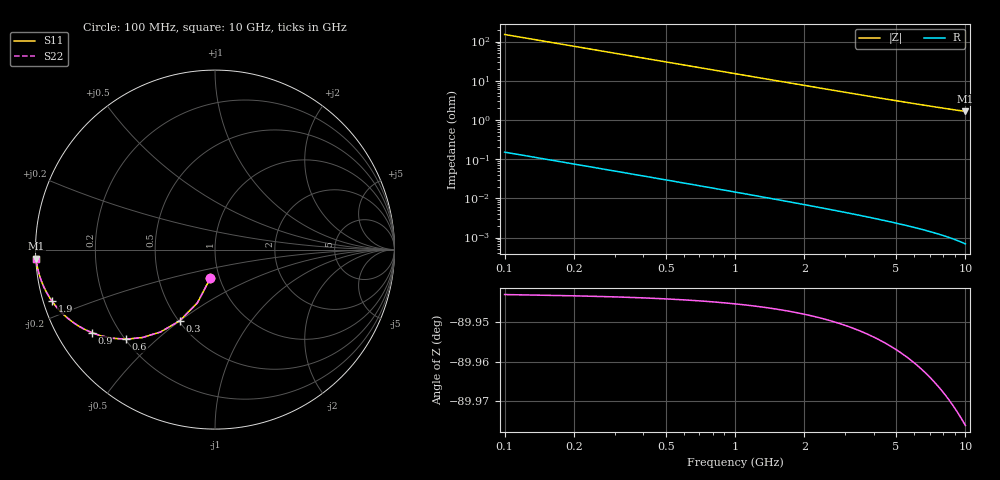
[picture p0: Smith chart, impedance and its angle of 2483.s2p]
# Hz S RI R 50.00
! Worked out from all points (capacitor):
!   100 points, 100 MHz to 10 GHz, reference 50 ohm
!   read as one part in shunt: C = 10.5 pF near 100 MHz
!   lowest |Z| = 1.65 ohm at 10 GHz (marker M1)
!   S11 on the Smith chart (normalised r, x): 100 MHz: 0.90, -0.30; 300 MHz: 0.51, -0.50; 600 MHz: 0.20, -0.40; 900 MHz: 0.10, -0.30; 1.9 GHz: 0.03, -0.15; 10 GHz: 0.00, -0.03
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1e8  -0.0266 -0.1604  0.9734 -0.1605  0.9734 -0.1605  -0.0266 -0.1604
2e8  -0.0982 -0.297  0.9017 -0.2973  0.9017 -0.2973  -0.0982 -0.297
3e8  -0.1967 -0.3968  0.8032 -0.3972  0.8032 -0.3972  -0.1967 -0.3968
4e8  -0.3031 -0.4588  0.6968 -0.4594  0.6968 -0.4594  -0.3031 -0.4588
5e8  -0.4045 -0.49  0.5954 -0.4906  0.5954 -0.4906  -0.4045 -0.49
6e8  -0.4944 -0.4991  0.5055 -0.4999  0.5055 -0.4999  -0.4944 -0.4991
7e8  -0.5709 -0.494  0.429 -0.4949  0.429 -0.4949  -0.5709 -0.494
8e8  -0.6347 -0.4805  0.3652 -0.4815  0.3652 -0.4815  -0.6347 -0.4805
9e8  -0.6873 -0.4624  0.3126 -0.4637  0.3126 -0.4637  -0.6873 -0.4624
1.1e9  -0.7665 -0.4218  0.2334 -0.4233  0.2334 -0.4233  -0.7665 -0.4218
1.3e9  -0.8209 -0.382  0.179 -0.3838  0.179 -0.3838  -0.8209 -0.382
1.5e9  -0.8591 -0.3463  0.1408 -0.3483  0.1408 -0.3483  -0.8591 -0.3463
1.8e9  -0.8977 -0.3012  0.1022 -0.3036  0.1022 -0.3036  -0.8977 -0.3012
1.9e9  -0.9072 -0.2882  0.0927 -0.2908  0.0927 -0.2908  -0.9072 -0.2882
2.2e9  -0.9291 -0.2545  0.0708 -0.2575  0.0708 -0.2575  -0.9291 -0.2545
2.6e9  -0.9482 -0.2192  0.0517 -0.2228  0.0517 -0.2228  -0.9482 -0.2192
3.4e9  -0.969 -0.1702  0.0309 -0.1749  0.0309 -0.1749  -0.969 -0.1702
4.2e9  -0.9795 -0.1381  0.0204 -0.1439  0.0204 -0.1439  -0.9795 -0.1381
5.1e9  -0.986 -0.1131  0.0139 -0.1201  0.0139 -0.1201  -0.986 -0.1131
6.7e9  -0.9919 -0.0841  0.00798 -0.0935  0.00798 -0.0935  -0.9919 -0.0841
8.4e9  -0.9948 -0.0644  0.00499 -0.0764  0.00499 -0.0764  -0.9948 -0.0644
1e10  -0.9964 -0.0514  0.00342 -0.0659  0.00342 -0.0659  -0.9964 -0.0514
